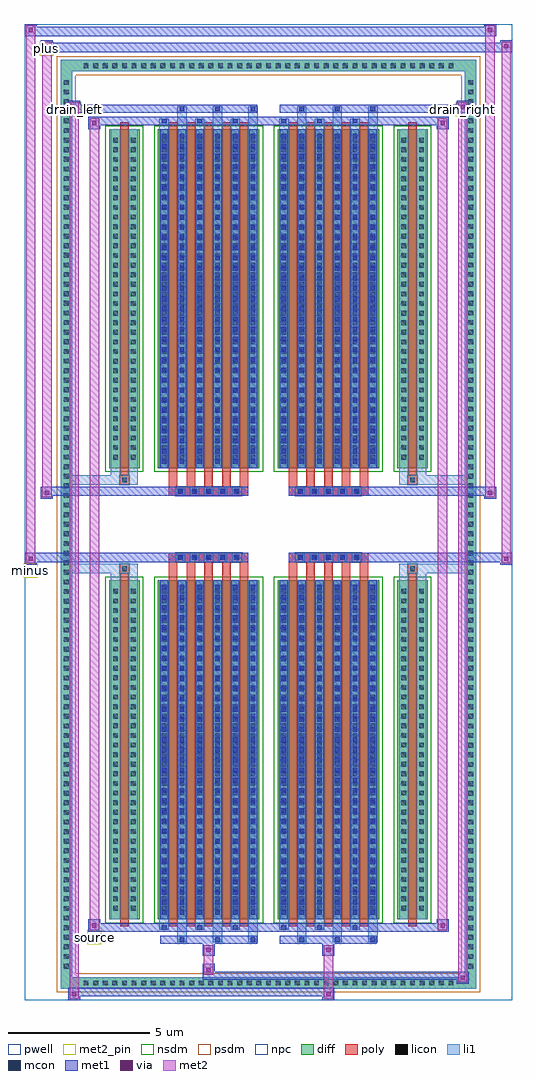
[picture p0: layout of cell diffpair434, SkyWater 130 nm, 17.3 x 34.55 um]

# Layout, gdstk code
import gdstk
lib = gdstk.Library(unit=1e-6, precision=5e-09)
def R(c, l, rs):  # rectangles x0, y0, x1, y1
    for r in rs: c.add(gdstk.rectangle(r[:2], r[2:], *l))
def A(c, l, x, y, w, h, nx, ny, dx, dy):  # array of equal rectangles
    R(c, l, [(x+i*dx, y+j*dy, x+i*dx+w, y+j*dy+h) for i in range(nx) for j in range(ny)])
def P(c, l, *ps):  # polygons
    for p in ps: c.add(gdstk.Polygon(p, *l))
pwell = (64, 44)
diff = (65, 20)
poly = (66, 20)
licon = (66, 44)
li1 = (67, 20)
mcon = (67, 44)
met1 = (68, 20)
via = (68, 44)
met2_pin = (69, 16)
met2 = (69, 20)
nsdm = (93, 44)
psdm = (94, 20)
npc = (95, 20)

diffpair434 = lib.new_cell('diffpair434')
R(diffpair434, pwell, [(-8.63,-16.84,8.63,17.71), (-5.95,-15.03,-0.01,-0.805), (0.01,-15.03,5.95,-0.805), (-5.95,0.805,-0.01,15.03), (0.01,0.805,5.95,15.03)])
A(diffpair434, diff, -6.665, -16.44, 0.41, 0.41, 39, 2, 0.34, 32.47)
A(diffpair434, diff, -7.36, -15.845, 0.41, 0.41, 1, 93, 0, 0.34)
A(diffpair434, diff, 6.95, -15.845, 0.41, 0.41, 1, 93, 0, 0.34)
R(diffpair434, diff, [(-6.665,-16.44,6.665,-16.03), (-7.36,-15.845,-6.95,15.845), (6.95,-15.845,7.36,15.845), (-5.64,-13.985,-4.56,-1.985), (-3.92,-13.985,-0.32,-1.985), (0.32,-13.985,3.92,-1.985), (4.56,-13.985,5.64,-1.985), (-5.64,1.985,-4.56,13.985), (-3.92,1.985,-0.32,13.985), (0.32,1.985,3.92,13.985), (4.56,1.985,5.64,13.985), (-6.665,16.03,6.665,16.44)])
P(diffpair434, diff, [(7.36,16.44),(-7.36,16.44),(-7.36,-16.03),(-6.95,-16.03),(-6.95,16.03),(6.95,16.03),(6.95,-16.03),(-6.95,-16.03),(-7.36,-16.03),(-7.36,-16.44),(7.36,-16.44)])
A(diffpair434, poly, -3.53, -14.235, 0.3, 12.5, 5, 2, 0.63, 15.97)
A(diffpair434, poly, 0.71, -14.235, 0.3, 12.5, 5, 2, 0.63, 15.97)
A(diffpair434, poly, -3.53, -1.735, 0.3, 0.4, 5, 2, 0.63, 3.07)
A(diffpair434, poly, 0.71, -1.735, 0.3, 0.4, 5, 2, 0.63, 3.07)
A(diffpair434, poly, -3.285, -1.335, 0.33, 0.33, 5, 2, 0.5, 2.34)
A(diffpair434, poly, 0.955, -1.335, 0.33, 0.33, 5, 2, 0.5, 2.34)
R(diffpair434, poly, [(-5.25,-14.235,-4.95,-1.735), (4.95,-14.235,5.25,-1.735), (-5.265,-1.735,-4.935,-1.405), (-5.265,-1.735,-4.935,-1.405), (4.935,-1.735,5.265,-1.405), (4.935,-1.735,5.265,-1.405), (-3.53,-1.335,-0.71,-1.005), (0.71,-1.335,3.53,-1.005), (-3.53,1.005,-0.71,1.335), (0.71,1.005,3.53,1.335), (-5.265,1.405,-4.935,1.735), (-5.265,1.405,-4.935,1.735), (4.935,1.405,5.265,1.735), (4.935,1.405,5.265,1.735), (-5.25,1.735,-4.95,14.235), (4.95,1.735,5.25,14.235)])
A(diffpair434, licon, -6.545, -16.32, 0.17, 0.17, 39, 2, 0.34, 32.47)
A(diffpair434, licon, -7.24, -15.725, 0.17, 0.17, 1, 93, 0, 0.34)
A(diffpair434, licon, 7.07, -15.725, 0.17, 0.17, 1, 93, 0, 0.34)
A(diffpair434, licon, -5.5, -13.68, 0.17, 0.17, 1, 34, 0, 0.34)
A(diffpair434, licon, -4.87, -13.68, 0.17, 0.17, 1, 34, 0, 0.34)
A(diffpair434, licon, -3.78, -13.68, 0.17, 0.17, 6, 34, 0.63, 0.34)
A(diffpair434, licon, 0.46, -13.68, 0.17, 0.17, 6, 34, 0.63, 0.34)
A(diffpair434, licon, 4.7, -13.68, 0.17, 0.17, 1, 34, 0, 0.34)
A(diffpair434, licon, 5.33, -13.68, 0.17, 0.17, 1, 34, 0, 0.34)
A(diffpair434, licon, -3.205, -1.255, 0.17, 0.17, 5, 2, 0.5, 2.34)
A(diffpair434, licon, 1.035, -1.255, 0.17, 0.17, 5, 2, 0.5, 2.34)
A(diffpair434, licon, -5.5, 2.29, 0.17, 0.17, 1, 34, 0, 0.34)
A(diffpair434, licon, -4.87, 2.29, 0.17, 0.17, 1, 34, 0, 0.34)
A(diffpair434, licon, -3.78, 2.29, 0.17, 0.17, 6, 34, 0.63, 0.34)
A(diffpair434, licon, 0.46, 2.29, 0.17, 0.17, 6, 34, 0.63, 0.34)
A(diffpair434, licon, 4.7, 2.29, 0.17, 0.17, 1, 34, 0, 0.34)
A(diffpair434, licon, 5.33, 2.29, 0.17, 0.17, 1, 34, 0, 0.34)
R(diffpair434, licon, [(-5.185,-1.655,-5.015,-1.485), (5.015,-1.655,5.185,-1.485), (-5.185,1.485,-5.015,1.655), (5.015,1.485,5.185,1.655)])
A(diffpair434, li1, -6.625, -16.4, 0.33, 0.33, 39, 2, 0.34, 32.47)
A(diffpair434, li1, -7.32, -15.805, 0.33, 0.33, 1, 93, 0, 0.34)
A(diffpair434, li1, 6.99, -15.805, 0.33, 0.33, 1, 93, 0, 0.34)
A(diffpair434, li1, -3.23, -14.79, 0.33, 0.805, 3, 2, 1.26, 28.775)
A(diffpair434, li1, -3.15, -14.79, 0.17, 0.17, 3, 2, 1.26, 29.41)
A(diffpair434, li1, 1.01, -14.79, 0.33, 0.805, 3, 2, 1.26, 28.775)
A(diffpair434, li1, 1.09, -14.79, 0.17, 0.17, 3, 2, 1.26, 29.41)
A(diffpair434, li1, -3.86, -14.36, 0.33, 0.375, 3, 2, 1.26, 28.345)
A(diffpair434, li1, -3.78, -14.36, 0.17, 0.17, 3, 2, 1.26, 28.55)
A(diffpair434, li1, 0.38, -14.36, 0.33, 0.375, 3, 2, 1.26, 28.345)
A(diffpair434, li1, 0.46, -14.36, 0.17, 0.17, 3, 2, 1.26, 28.55)
A(diffpair434, li1, -3.86, -13.985, 0.33, 12, 6, 2, 0.63, 15.97)
A(diffpair434, li1, 0.38, -13.985, 0.33, 12, 6, 2, 0.63, 15.97)
A(diffpair434, li1, -3.78, -13.83, 0.17, 0.17, 6, 33, 0.63, 0.36)
A(diffpair434, li1, -3.78, -13.83, 0.17, 11.69, 6, 2, 0.63, 15.97)
A(diffpair434, li1, 0.46, -13.83, 0.17, 0.17, 6, 33, 0.63, 0.36)
A(diffpair434, li1, 0.46, -13.83, 0.17, 11.69, 6, 2, 0.63, 15.97)
A(diffpair434, li1, -5.58, -13.76, 0.33, 0.33, 1, 34, 0, 0.34)
A(diffpair434, li1, -4.95, -13.76, 0.33, 0.33, 1, 34, 0, 0.34)
A(diffpair434, li1, -3.86, -13.76, 0.33, 0.33, 6, 34, 0.63, 0.34)
A(diffpair434, li1, 0.38, -13.76, 0.33, 0.33, 6, 34, 0.63, 0.34)
A(diffpair434, li1, 4.62, -13.76, 0.33, 0.33, 1, 34, 0, 0.34)
A(diffpair434, li1, 5.25, -13.76, 0.33, 0.33, 1, 34, 0, 0.34)
A(diffpair434, li1, -3.285, -1.335, 0.33, 0.33, 5, 2, 0.5, 2.34)
A(diffpair434, li1, 0.955, -1.335, 0.33, 0.33, 5, 2, 0.5, 2.34)
A(diffpair434, li1, -3.78, 2.14, 0.17, 0.17, 6, 33, 0.63, 0.36)
A(diffpair434, li1, 0.46, 2.14, 0.17, 0.17, 6, 33, 0.63, 0.36)
A(diffpair434, li1, -5.58, 2.21, 0.33, 0.33, 1, 34, 0, 0.34)
A(diffpair434, li1, -4.95, 2.21, 0.33, 0.33, 1, 34, 0, 0.34)
A(diffpair434, li1, -3.86, 2.21, 0.33, 0.33, 6, 34, 0.63, 0.34)
A(diffpair434, li1, 0.38, 2.21, 0.33, 0.33, 6, 34, 0.63, 0.34)
A(diffpair434, li1, 4.62, 2.21, 0.33, 0.33, 1, 34, 0, 0.34)
A(diffpair434, li1, 5.25, 2.21, 0.33, 0.33, 1, 34, 0, 0.34)
R(diffpair434, li1, [(-7.36,-16.44,-6.95,-16.03), (-7.36,-16.44,-6.95,-16.03), (-6.95,-16.44,6.95,-16.03), (6.95,-16.44,7.36,-16.03), (6.95,-16.44,7.36,-16.03), (-7.36,-16.03,-6.95,16.03), (6.95,-16.03,7.36,16.03), (-5.58,-13.985,-5.25,-1.985), (-4.95,-13.985,-4.62,-1.985), (4.62,-13.985,4.95,-1.985), (5.25,-13.985,5.58,-1.985), (-5.58,-1.985,-5.25,-1.405), (-4.95,-1.985,-4.62,-1.405), (4.62,-1.985,4.95,-1.405), (5.25,-1.985,5.58,-1.405), (-7.36,-1.735,-5.265,-1.405), (-5.58,-1.735,-5.265,-1.405), (-5.265,-1.735,-4.935,-1.405), (-4.935,-1.735,-4.62,-1.405), (4.62,-1.735,4.935,-1.405), (4.935,-1.735,5.265,-1.405), (4.935,-1.735,7.36,-1.405), (5.265,-1.735,5.58,-1.405), (-7.36,1.405,-5.265,1.735), (-5.58,1.405,-5.265,1.735), (-5.58,1.405,-5.25,1.985), (-5.265,1.405,-4.935,1.735), (-4.95,1.405,-4.62,1.985), (-4.935,1.405,-4.62,1.735), (4.62,1.405,4.935,1.735), (4.62,1.405,4.95,1.985), (4.935,1.405,5.265,1.735), (4.935,1.405,7.36,1.735), (5.25,1.405,5.58,1.985), (5.265,1.405,5.58,1.735), (-5.58,1.985,-5.25,13.985), (-4.95,1.985,-4.62,13.985), (4.62,1.985,4.95,13.985), (5.25,1.985,5.58,13.985), (-7.36,16.03,-6.95,16.44), (-7.36,16.03,-6.95,16.44), (-6.95,16.03,6.95,16.44), (6.95,16.03,7.36,16.44), (6.95,16.03,7.36,16.44)])
A(diffpair434, mcon, -3.15, -14.79, 0.17, 0.17, 3, 2, 1.26, 29.41)
A(diffpair434, mcon, 1.09, -14.79, 0.17, 0.17, 3, 2, 1.26, 29.41)
A(diffpair434, mcon, -3.78, -14.36, 0.17, 0.17, 3, 2, 1.26, 28.55)
A(diffpair434, mcon, 0.46, -14.36, 0.17, 0.17, 3, 2, 1.26, 28.55)
A(diffpair434, mcon, -3.78, -13.83, 0.17, 0.17, 6, 33, 0.63, 0.36)
A(diffpair434, mcon, 0.46, -13.83, 0.17, 0.17, 6, 33, 0.63, 0.36)
A(diffpair434, mcon, -3.205, -1.255, 0.17, 0.17, 5, 2, 0.5, 2.34)
A(diffpair434, mcon, 1.035, -1.255, 0.17, 0.17, 5, 2, 0.5, 2.34)
A(diffpair434, mcon, -3.78, 2.14, 0.17, 0.17, 6, 33, 0.63, 0.36)
A(diffpair434, mcon, 0.46, 2.14, 0.17, 0.17, 6, 33, 0.63, 0.36)
A(diffpair434, met1, -3.21, -14.85, 0.29, 0.29, 3, 2, 1.26, 29.41)
A(diffpair434, met1, 1.03, -14.85, 0.29, 0.29, 3, 2, 1.26, 29.41)
A(diffpair434, met1, -3.84, -14.42, 0.29, 0.29, 3, 2, 1.26, 28.55)
A(diffpair434, met1, 0.4, -14.42, 0.29, 0.29, 3, 2, 1.26, 28.55)
A(diffpair434, met1, -3.84, -13.985, 0.29, 12, 6, 2, 0.63, 15.97)
A(diffpair434, met1, 0.4, -13.985, 0.29, 12, 6, 2, 0.63, 15.97)
A(diffpair434, met1, -3.84, -13.89, 0.29, 0.29, 6, 33, 0.63, 0.36)
A(diffpair434, met1, 0.4, -13.89, 0.29, 0.29, 6, 33, 0.63, 0.36)
A(diffpair434, met1, -3.265, -1.315, 0.29, 0.29, 5, 2, 0.5, 2.34)
A(diffpair434, met1, 0.975, -1.315, 0.29, 0.29, 5, 2, 0.5, 2.34)
A(diffpair434, met1, -3.84, 2.08, 0.29, 0.29, 6, 33, 0.63, 0.36)
A(diffpair434, met1, 0.4, 2.08, 0.29, 0.29, 6, 33, 0.63, 0.36)
R(diffpair434, met1, [(-7.09,-16.84,-6.66,-16.41), (1.905,-16.84,2.335,-16.41), (-7.09,-16.7,2.335,-16.41), (6.66,-16.27,7.09,-15.84), (-2.335,-16.13,7.09,-15.84), (-2.335,-15.99,-1.905,-15.56), (-2.335,-15.28,-1.905,-14.85), (1.905,-15.28,2.335,-14.85), (-3.84,-14.85,-0.4,-14.56), (0.4,-14.85,3.84,-14.56), (-6.38,-14.42,-5.95,-13.99), (-6.38,-14.42,-3.84,-14.13), (-3.84,-14.42,-0.4,-14.13), (-0.4,-14.42,0.4,-14.13), (0.4,-14.42,3.84,-14.13), (3.84,-14.42,6.38,-14.13), (5.95,-14.42,6.38,-13.99), (-8.63,-1.435,-8.2,-1.005), (8.2,-1.435,8.63,-1.005), (-8.63,-1.335,-0.71,-1.005), (-3.53,-1.335,-0.71,-1.005), (0.71,-1.335,3.53,-1.005), (0.71,-1.335,8.63,-1.005), (-8.06,0.905,-7.63,1.335), (7.63,0.905,8.06,1.335), (-8.06,1.005,-3.53,1.335), (-3.53,1.005,-0.71,1.335), (0.71,1.005,3.53,1.335), (3.53,1.005,8.06,1.335), (-6.38,13.99,-5.95,14.42), (5.95,13.99,6.38,14.42), (-6.38,14.13,-3.84,14.42), (-3.84,14.13,-0.4,14.42), (-0.4,14.13,0.4,14.42), (0.4,14.13,3.84,14.42), (3.84,14.13,6.38,14.42), (-7.09,14.56,-6.66,14.99), (-7.09,14.56,-3.84,14.85), (-3.84,14.56,-0.4,14.85), (0.4,14.56,3.84,14.85), (3.84,14.56,7.09,14.85), (6.66,14.56,7.09,14.99), (-8.06,16.71,-7.63,17.14), (-8.06,16.71,-5.95,17.04), (-5.95,16.71,5.95,17.04), (5.95,16.71,8.63,17.04), (8.2,16.71,8.63,17.14), (-8.63,17.28,-8.2,17.71), (-8.63,17.28,-5.95,17.61), (-5.95,17.28,5.95,17.61), (5.95,17.28,8.06,17.61), (7.63,17.28,8.06,17.71)])
R(diffpair434, via, [(-6.95,-16.7,-6.8,-16.55), (2.045,-16.7,2.195,-16.55), (6.8,-16.13,6.95,-15.98), (-2.195,-15.85,-2.045,-15.7), (-2.195,-15.14,-2.045,-14.99), (2.045,-15.14,2.195,-14.99), (-6.24,-14.28,-6.09,-14.13), (6.09,-14.28,6.24,-14.13), (-8.49,-1.295,-8.34,-1.145), (8.34,-1.295,8.49,-1.145), (-7.92,1.045,-7.77,1.195), (7.77,1.045,7.92,1.195), (-6.24,14.13,-6.09,14.28), (6.09,14.13,6.24,14.28), (-6.95,14.7,-6.8,14.85), (6.8,14.7,6.95,14.85), (-7.92,16.85,-7.77,17), (8.34,16.85,8.49,17), (-8.49,17.42,-8.34,17.57), (7.77,17.42,7.92,17.57)])
R(diffpair434, met2_pin, [(-6.415,-14.87,-5.915,-14.37), (-8.665,-1.885,-8.165,-1.385), (-7.125,14.44,-6.625,14.94), (6.625,14.44,7.125,14.94), (-8.095,16.59,-7.595,17.09)])
R(diffpair434, met2, [(-7.04,-16.79,-6.71,-16.46), (-7.04,-16.79,-6.71,14.94), (1.955,-16.79,2.285,-16.46), (1.955,-16.46,2.285,-15.23), (6.71,-16.22,7.04,-15.89), (6.71,-16.22,7.04,14.94), (-2.285,-15.94,-1.955,-15.61), (-2.285,-15.61,-1.955,-15.23), (-2.285,-15.23,-1.955,-14.9), (1.955,-15.23,2.285,-14.9), (-6.33,-14.37,-6,-14.04), (-6.33,-14.37,-6,14.37), (6,-14.37,6.33,-14.04), (6,-14.37,6.33,14.37), (-8.58,-1.385,-8.25,-1.055), (-8.58,-1.385,-8.25,17.66), (8.25,-1.385,8.58,-1.055), (8.25,-1.385,8.58,17.09), (-8.01,0.955,-7.68,1.285), (-8.01,0.955,-7.68,17.09), (7.68,0.955,8.01,1.285), (7.68,0.955,8.01,17.66), (-6.33,14.04,-6,14.37), (6,14.04,6.33,14.37), (-7.04,14.61,-6.71,14.94), (6.71,14.61,7.04,14.94), (-8.01,16.76,-7.68,17.09), (8.25,16.76,8.58,17.09), (-8.58,17.33,-8.25,17.66), (7.68,17.33,8.01,17.66)])
P(diffpair434, met2, [(8.58,-1.385),(8.58,-1.385),(8.58,-1.055),(8.58,-1.055)],
  [(8.58,16.76),(8.58,16.76),(8.58,17.09),(8.58,17.09)],
  [(-8.25,-1.385),(-8.25,-1.385),(-8.25,-1.055),(-8.25,-1.055)],
  [(-8.25,17.33),(-8.25,17.33),(-8.25,17.66),(-8.25,17.66)],
  [(8.01,0.955),(8.01,0.955),(8.01,1.285),(8.01,1.285)],
  [(8.01,17.33),(8.01,17.33),(8.01,17.66),(8.01,17.66)],
  [(-7.68,0.955),(-7.68,0.955),(-7.68,1.285),(-7.68,1.285)],
  [(-7.68,16.76),(-7.68,16.76),(-7.68,17.09),(-7.68,17.09)],
  [(-6.71,-16.79),(-6.71,-16.79),(-6.71,-16.46),(-6.71,-16.46)],
  [(-6.71,14.61),(-6.71,14.61),(-6.71,14.94),(-6.71,14.94)],
  [(7.04,-16.22),(7.04,-16.22),(7.04,-15.89),(7.04,-15.89)],
  [(7.04,14.61),(7.04,14.61),(7.04,14.94),(7.04,14.94)],
  [(-6,-14.37),(-6,-14.37),(-6,-14.04),(-6,-14.04)],
  [(-6,14.04),(-6,14.04),(-6,14.37),(-6,14.37)],
  [(6.33,-14.37),(6.33,-14.37),(6.33,-14.04),(6.33,-14.04)],
  [(6.33,14.04),(6.33,14.04),(6.33,14.37),(6.33,14.37)])
R(diffpair434, nsdm, [(-5.77,-14.115,-4.43,-1.855), (-4.05,-14.115,-0.19,-1.855), (0.19,-14.115,4.05,-1.855), (4.43,-14.115,5.77,-1.855), (-5.77,1.855,-4.43,14.115), (-4.05,1.855,-0.19,14.115), (0.19,1.855,4.05,14.115), (4.43,1.855,5.77,14.115)])
P(diffpair434, psdm, [(7.49,16.57),(-7.49,16.57),(-7.49,-15.9),(-6.82,-15.9),(-6.82,15.9),(6.82,15.9),(6.82,-15.9),(-6.82,-15.9),(-7.49,-15.9),(-7.49,-16.57),(7.49,-16.57)])
A(diffpair434, npc, -3.305, -1.355, 0.37, 0.37, 5, 2, 0.5, 2.34)
A(diffpair434, npc, 0.935, -1.355, 0.37, 0.37, 5, 2, 0.5, 2.34)
R(diffpair434, npc, [(-5.285,-1.755,-4.915,-1.385), (4.915,-1.755,5.285,-1.385), (-3.305,-1.355,-2.435,-0.985), (-3.305,-1.355,-2.435,-0.985), (-2.805,-1.355,-1.935,-0.985), (-2.805,-1.355,-1.935,-0.985), (-2.305,-1.355,-1.435,-0.985), (-2.305,-1.355,-1.435,-0.985), (-1.805,-1.355,-0.935,-0.985), (-1.805,-1.355,-0.935,-0.985), (0.935,-1.355,1.805,-0.985), (0.935,-1.355,1.805,-0.985), (1.435,-1.355,2.305,-0.985), (1.435,-1.355,2.305,-0.985), (1.935,-1.355,2.805,-0.985), (1.935,-1.355,2.805,-0.985), (2.435,-1.355,3.305,-0.985), (2.435,-1.355,3.305,-0.985), (-3.305,0.985,-2.435,1.355), (-3.305,0.985,-2.435,1.355), (-2.805,0.985,-1.935,1.355), (-2.805,0.985,-1.935,1.355), (-2.305,0.985,-1.435,1.355), (-2.305,0.985,-1.435,1.355), (-1.805,0.985,-0.935,1.355), (-1.805,0.985,-0.935,1.355), (0.935,0.985,1.805,1.355), (0.935,0.985,1.805,1.355), (1.435,0.985,2.305,1.355), (1.435,0.985,2.305,1.355), (1.935,0.985,2.805,1.355), (1.935,0.985,2.805,1.355), (2.435,0.985,3.305,1.355), (2.435,0.985,3.305,1.355), (-5.285,1.385,-4.915,1.755), (4.915,1.385,5.285,1.755)])
diffpair434.add(gdstk.Label('minus', (-8.415,-1.635), layer=69, texttype=5))
diffpair434.add(gdstk.Label('drain_right', (6.875,14.69), layer=69, texttype=5))
diffpair434.add(gdstk.Label('drain_left', (-6.875,14.69), layer=69, texttype=5))
diffpair434.add(gdstk.Label('source', (-6.165,-14.62), layer=69, texttype=5))
diffpair434.add(gdstk.Label('plus', (-7.845,16.84), layer=69, texttype=5))

lib.write_gds('diffpair434.gds')
